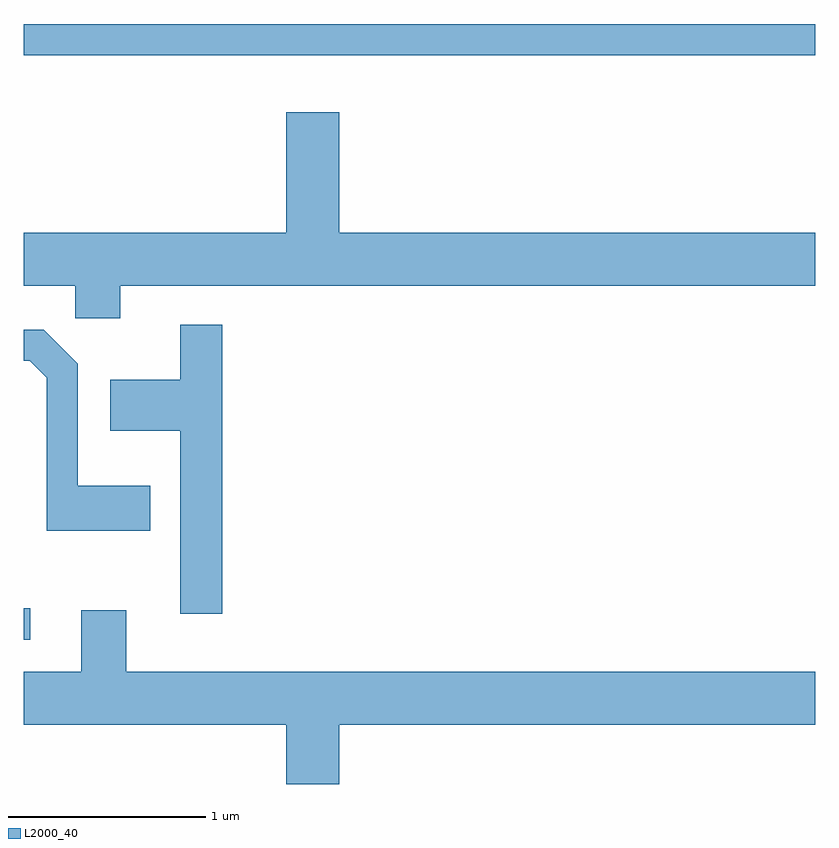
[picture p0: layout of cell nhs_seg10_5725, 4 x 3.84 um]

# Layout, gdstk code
import gdstk
lib = gdstk.Library(unit=1e-6, precision=1e-09)
def R(c, l, rs):  # rectangles x0, y0, x1, y1
    for r in rs: c.add(gdstk.rectangle(r[:2], r[2:], *l))
def P(c, l, *ps):  # polygons
    for p in ps: c.add(gdstk.Polygon(p, *l))
L2000_40 = (2000, 40)

nhs_seg10_5725 = lib.new_cell('nhs_seg10_5725')
R(nhs_seg10_5725, L2000_40, [(353.611,2165.406,353.643,2165.564), (353.611,2168.361,357.611,2168.519)])
P(nhs_seg10_5725, L2000_40, [(354.099,2167.196),(357.611,2167.196),(357.611,2167.464),(355.204,2167.464),(355.204,2168.074),(354.936,2168.074),(354.936,2167.464),(353.611,2167.464),(353.611,2167.196),(353.871,2167.196),(353.871,2167.031),(354.099,2167.031)],
  [(354.614,2166.999),(354.401,2166.999),(354.401,2166.719),(354.046,2166.719),(354.046,2166.461),(354.401,2166.461),(354.401,2165.536),(354.614,2165.536)],
  [(354.249,2166.184),(353.884,2166.184),(353.884,2166.802),(353.712,2166.974),(353.611,2166.974),(353.611,2166.816),(353.639,2166.816),(353.726,2166.729),(353.726,2165.956),(354.249,2165.956)],
  [(355.204,2164.976),(357.611,2164.976),(357.611,2165.244),(354.129,2165.244),(354.129,2165.554),(353.901,2165.554),(353.901,2165.244),(353.611,2165.244),(353.611,2164.976),(354.936,2164.976),(354.936,2164.676),(355.204,2164.676)])

lib.write_gds('nhs_seg10_5725.gds')
